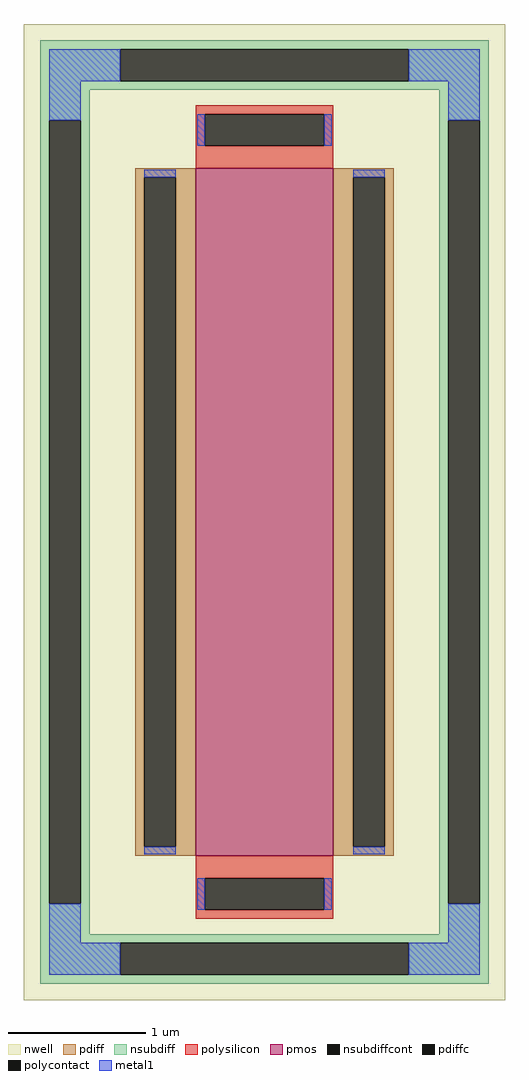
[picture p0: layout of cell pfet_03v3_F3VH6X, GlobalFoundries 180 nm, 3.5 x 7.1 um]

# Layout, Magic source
magic
tech gf180mcuD
magscale 1 10
<< nwell >>
rect -350 -710 350 710
<< pmos >>
rect -100 -500 100 500
<< pdiff >>
rect -188 487 -100 500
rect -188 -487 -175 487
rect -129 -487 -100 487
rect -188 -500 -100 -487
rect 100 487 188 500
rect 100 -487 129 487
rect 175 -487 188 487
rect 100 -500 188 -487
<< pdiffc >>
rect -175 -487 -129 487
rect 129 -487 175 487
<< nsubdiff >>
rect -326 673 326 686
rect -326 627 -210 673
rect 210 627 326 673
rect -326 614 326 627
rect -326 570 -254 614
rect -326 -570 -313 570
rect -267 -570 -254 570
rect 254 570 326 614
rect -326 -614 -254 -570
rect 254 -570 267 570
rect 313 -570 326 570
rect 254 -614 326 -570
rect -326 -627 326 -614
rect -326 -673 -210 -627
rect 210 -673 326 -627
rect -326 -686 326 -673
<< nsubdiffcont >>
rect -210 627 210 673
rect -313 -570 -267 570
rect 267 -570 313 570
rect -210 -673 210 -627
<< polysilicon >>
rect -100 579 100 592
rect -100 533 -87 579
rect 87 533 100 579
rect -100 500 100 533
rect -100 -533 100 -500
rect -100 -579 -87 -533
rect 87 -579 100 -533
rect -100 -592 100 -579
<< polycontact >>
rect -87 533 87 579
rect -87 -579 87 -533
<< metal1 >>
rect -313 627 -210 673
rect 210 627 313 673
rect -313 570 -267 627
rect -98 533 -87 579
rect 87 533 98 579
rect 267 570 313 627
rect -175 487 -129 498
rect -175 -498 -129 -487
rect 129 487 175 498
rect 129 -498 175 -487
rect -313 -627 -267 -570
rect -98 -579 -87 -533
rect 87 -579 98 -533
rect 267 -627 313 -570
rect -313 -673 -210 -627
rect 210 -673 313 -627
<< properties >>
string FIXED_BBOX -290 -650 290 650
string gencell pfet_03v3
string library gf180mcu
string parameters w 5 l 1 m 1 nf 1 diffcov 100 polycov 100 guard 1 glc 1 grc 1 gtc 1 gbc 1 tbcov 100 rlcov 100 topc 1 botc 1 poverlap 0 doverlap 1 lmin 0.28 wmin 0.22 class mosfet full_metal 1 compatible {pfet_03v3 pfet_05v0 pfet_06v0}
<< end >>
